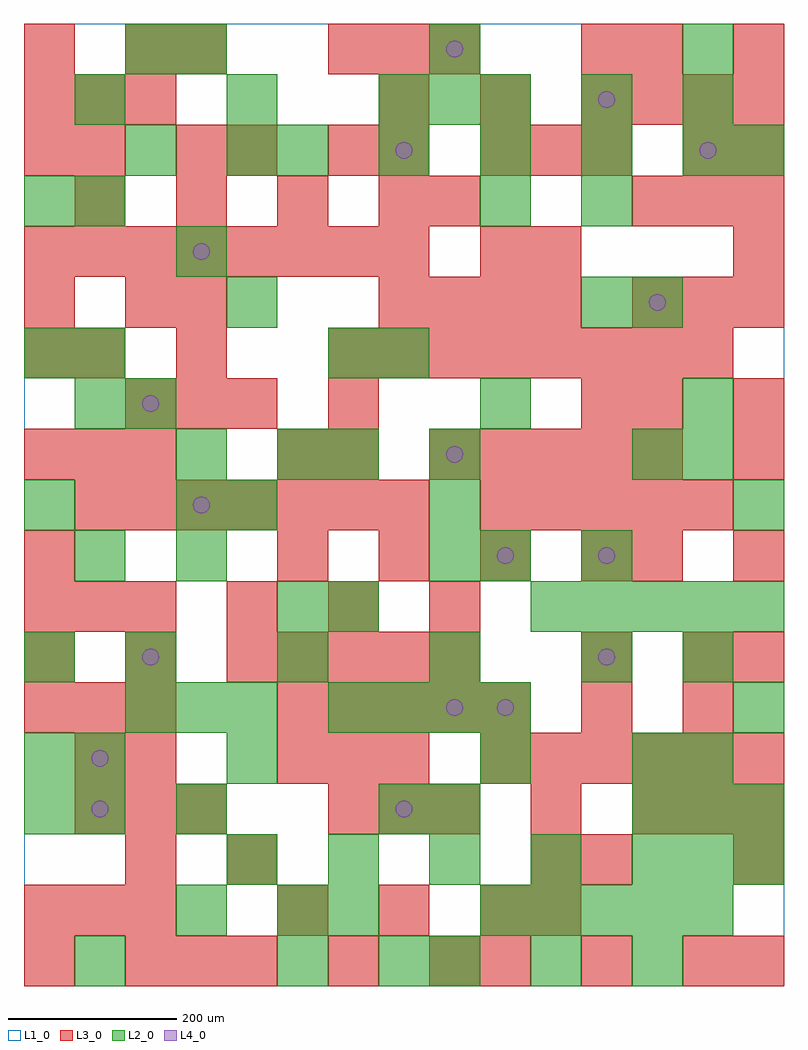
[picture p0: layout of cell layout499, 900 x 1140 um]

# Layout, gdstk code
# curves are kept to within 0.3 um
import gdstk
lib = gdstk.Library(unit=1e-6, precision=1e-09)
def R(c, l, rs):  # rectangles x0, y0, x1, y1
    for r in rs: c.add(gdstk.rectangle(r[:2], r[2:], *l))
def A(c, l, x, y, w, h, nx, ny, dx, dy):  # array of equal rectangles
    R(c, l, [(x+i*dx, y+j*dy, x+i*dx+w, y+j*dy+h) for i in range(nx) for j in range(ny)])
def P(c, l, *ps):  # polygons
    for p in ps: c.add(gdstk.Polygon(p, *l))
L1_0 = (1, 0)
L2_0 = (2, 0)
L3_0 = (3, 0)
L4_0 = (4, 0)

layout499 = lib.new_cell('layout499')
R(layout499, L1_0, [(0,0,900,1140)])
A(layout499, L2_0, 480, 0, 60, 60, 3, 1, 120, 0)
A(layout499, L2_0, 540, 60, 60, 60, 5, 1, 60, 0)
A(layout499, L2_0, 240, 120, 60, 60, 5, 1, 120, 0)
A(layout499, L2_0, 780, 120, 60, 60, 1, 3, 0, 120)
A(layout499, L2_0, 720, 180, 60, 60, 3, 1, 60, 0)
A(layout499, L2_0, 120, 300, 60, 60, 3, 1, 60, 0)
A(layout499, L2_0, 360, 300, 60, 60, 4, 1, 60, 0)
A(layout499, L2_0, 0, 360, 60, 60, 1, 4, 0, 180)
A(layout499, L2_0, 120, 360, 60, 60, 4, 1, 180, 0)
A(layout499, L2_0, 600, 420, 60, 60, 5, 1, 60, 0)
A(layout499, L2_0, 180, 480, 60, 60, 1, 3, 0, 60)
A(layout499, L2_0, 480, 480, 60, 60, 1, 3, 0, 60)
A(layout499, L2_0, 300, 960, 60, 60, 5, 1, 120, 0)
A(layout499, L2_0, 60, 1020, 60, 60, 3, 1, 180, 0)
A(layout499, L2_0, 540, 1020, 60, 60, 3, 1, 120, 0)
A(layout499, L2_0, 180, 1080, 60, 60, 3, 1, 300, 0)
R(layout499, L2_0, [(60,0,120,60), (300,0,360,60), (420,0,480,60), (180,60,240,120), (300,60,360,120), (360,60,420,120), (840,120,900,180), (0,180,60,240), (60,180,120,240), (180,180,240,240), (420,180,480,240), (480,180,540,240), (0,240,60,300), (60,240,120,300), (240,240,300,300), (540,240,600,300), (720,240,780,300), (840,300,900,360), (300,420,360,480), (360,420,420,480), (60,480,120,540), (540,480,600,540), (660,480,720,540), (240,540,300,600), (840,540,900,600), (300,600,360,660), (360,600,420,660), (720,600,780,660), (780,600,840,660), (60,660,120,720), (120,660,180,720), (540,660,600,720), (780,660,840,720), (60,720,120,780), (360,720,420,780), (420,720,480,780), (240,780,300,840), (660,780,720,840), (720,780,780,840), (180,840,240,900), (60,900,120,960), (540,900,600,960), (660,900,720,960), (120,960,180,1020), (240,960,300,1020), (840,960,900,1020), (480,1020,540,1080), (120,1080,180,1140)])
A(layout499, L3_0, 120, 0, 60, 60, 3, 2, 60, 660)
A(layout499, L3_0, 540, 0, 60, 60, 3, 1, 120, 0)
A(layout499, L3_0, 0, 60, 60, 60, 3, 2, 60, 240)
A(layout499, L3_0, 300, 60, 60, 60, 3, 1, 120, 0)
A(layout499, L3_0, 600, 60, 60, 60, 1, 3, 0, 60)
A(layout499, L3_0, 60, 180, 60, 60, 3, 1, 60, 0)
A(layout499, L3_0, 360, 180, 60, 60, 3, 2, 60, 900)
A(layout499, L3_0, 720, 180, 60, 60, 3, 2, 60, 600)
A(layout499, L3_0, 300, 240, 60, 60, 3, 1, 60, 0)
A(layout499, L3_0, 540, 240, 60, 60, 6, 1, 60, 0)
A(layout499, L3_0, 300, 300, 60, 60, 5, 1, 60, 0)
A(layout499, L3_0, 0, 360, 60, 60, 3, 1, 120, 0)
A(layout499, L3_0, 300, 360, 60, 60, 4, 1, 60, 0)
A(layout499, L3_0, 840, 360, 60, 60, 1, 3, 0, 120)
A(layout499, L3_0, 0, 420, 60, 60, 3, 2, 60, 180)
A(layout499, L3_0, 240, 420, 60, 60, 3, 1, 120, 0)
A(layout499, L3_0, 300, 480, 60, 60, 4, 1, 120, 0)
A(layout499, L3_0, 60, 540, 60, 60, 7, 1, 60, 0)
A(layout499, L3_0, 540, 540, 60, 60, 5, 1, 60, 0)
A(layout499, L3_0, 480, 600, 60, 60, 5, 1, 60, 0)
A(layout499, L3_0, 360, 720, 60, 60, 8, 1, 60, 0)
A(layout499, L3_0, 420, 780, 60, 60, 4, 1, 60, 0)
A(layout499, L3_0, 0, 840, 60, 60, 8, 1, 60, 0)
A(layout499, L3_0, 840, 840, 60, 60, 1, 3, 0, 120)
A(layout499, L3_0, 60, 900, 60, 60, 4, 1, 120, 0)
A(layout499, L3_0, 720, 900, 60, 60, 3, 2, 60, 120)
A(layout499, L3_0, 540, 960, 60, 60, 3, 1, 60, 0)
A(layout499, L3_0, 0, 1020, 60, 60, 3, 1, 60, 0)
A(layout499, L3_0, 420, 1020, 60, 60, 3, 1, 120, 0)
R(layout499, L3_0, [(0,0,60,60), (360,0,420,60), (480,0,540,60), (840,0,900,60), (120,120,180,180), (240,120,300,180), (660,120,720,180), (840,120,900,180), (60,240,120,300), (120,240,180,300), (660,300,720,360), (780,300,840,360), (660,360,720,420), (780,360,840,420), (0,480,60,540), (720,480,780,540), (300,600,360,660), (360,600,420,660), (360,660,420,720), (660,660,720,720), (720,660,780,720), (840,660,900,720), (0,720,60,780), (60,720,120,780), (180,720,240,780), (0,780,60,840), (120,780,180,840), (180,780,240,840), (540,840,600,900), (600,840,660,900), (480,900,540,960), (0,960,60,1020), (60,960,120,1020), (180,960,240,1020), (240,960,300,1020), (360,960,420,1020), (420,960,480,1020), (780,960,840,1020), (0,1080,60,1140), (120,1080,180,1140), (180,1080,240,1140), (660,1080,720,1140), (720,1080,780,1140)])
P(layout499, L4_0, [(100,210),(99.239,213.827),(97.071,217.071),(93.827,219.239),(90,220),(86.173,219.239),(82.929,217.071),(80.761,213.827),(80,210),(80.761,206.173),(82.929,202.929),(86.173,200.761),(90,200),(93.827,200.761),(97.071,202.929),(99.239,206.173)],
  [(100,270),(99.239,273.827),(97.071,277.071),(93.827,279.239),(90,280),(86.173,279.239),(82.929,277.071),(80.761,273.827),(80,270),(80.761,266.173),(82.929,262.929),(86.173,260.761),(90,260),(93.827,260.761),(97.071,262.929),(99.239,266.173)],
  [(160,390),(159.239,393.827),(157.071,397.071),(153.827,399.239),(150,400),(146.173,399.239),(142.929,397.071),(140.761,393.827),(140,390),(140.761,386.173),(142.929,382.929),(146.173,380.761),(150,380),(153.827,380.761),(157.071,382.929),(159.239,386.173)],
  [(160,690),(159.239,693.827),(157.071,697.071),(153.827,699.239),(150,700),(146.173,699.239),(142.929,697.071),(140.761,693.827),(140,690),(140.761,686.173),(142.929,682.929),(146.173,680.761),(150,680),(153.827,680.761),(157.071,682.929),(159.239,686.173)],
  [(220,570),(219.239,573.827),(217.071,577.071),(213.827,579.239),(210,580),(206.173,579.239),(202.929,577.071),(200.761,573.827),(200,570),(200.761,566.173),(202.929,562.929),(206.173,560.761),(210,560),(213.827,560.761),(217.071,562.929),(219.239,566.173)],
  [(220,870),(219.239,873.827),(217.071,877.071),(213.827,879.239),(210,880),(206.173,879.239),(202.929,877.071),(200.761,873.827),(200,870),(200.761,866.173),(202.929,862.929),(206.173,860.761),(210,860),(213.827,860.761),(217.071,862.929),(219.239,866.173)],
  [(460,210),(459.239,213.827),(457.071,217.071),(453.827,219.239),(450,220),(446.173,219.239),(442.929,217.071),(440.761,213.827),(440,210),(440.761,206.173),(442.929,202.929),(446.173,200.761),(450,200),(453.827,200.761),(457.071,202.929),(459.239,206.173)],
  [(460,990),(459.239,993.827),(457.071,997.071),(453.827,999.239),(450,1000),(446.173,999.239),(442.929,997.071),(440.761,993.827),(440,990),(440.761,986.173),(442.929,982.929),(446.173,980.761),(450,980),(453.827,980.761),(457.071,982.929),(459.239,986.173)],
  [(520,330),(519.239,333.827),(517.071,337.071),(513.827,339.239),(510,340),(506.173,339.239),(502.929,337.071),(500.761,333.827),(500,330),(500.761,326.173),(502.929,322.929),(506.173,320.761),(510,320),(513.827,320.761),(517.071,322.929),(519.239,326.173)],
  [(520,630),(519.239,633.827),(517.071,637.071),(513.827,639.239),(510,640),(506.173,639.239),(502.929,637.071),(500.761,633.827),(500,630),(500.761,626.173),(502.929,622.929),(506.173,620.761),(510,620),(513.827,620.761),(517.071,622.929),(519.239,626.173)],
  [(520,1110),(519.239,1113.827),(517.071,1117.071),(513.827,1119.239),(510,1120),(506.173,1119.239),(502.929,1117.071),(500.761,1113.827),(500,1110),(500.761,1106.173),(502.929,1102.929),(506.173,1100.761),(510,1100),(513.827,1100.761),(517.071,1102.929),(519.239,1106.173)],
  [(580,330),(579.239,333.827),(577.071,337.071),(573.827,339.239),(570,340),(566.173,339.239),(562.929,337.071),(560.761,333.827),(560,330),(560.761,326.173),(562.929,322.929),(566.173,320.761),(570,320),(573.827,320.761),(577.071,322.929),(579.239,326.173)],
  [(580,510),(579.239,513.827),(577.071,517.071),(573.827,519.239),(570,520),(566.173,519.239),(562.929,517.071),(560.761,513.827),(560,510),(560.761,506.173),(562.929,502.929),(566.173,500.761),(570,500),(573.827,500.761),(577.071,502.929),(579.239,506.173)],
  [(700,390),(699.239,393.827),(697.071,397.071),(693.827,399.239),(690,400),(686.173,399.239),(682.929,397.071),(680.761,393.827),(680,390),(680.761,386.173),(682.929,382.929),(686.173,380.761),(690,380),(693.827,380.761),(697.071,382.929),(699.239,386.173)],
  [(700,510),(699.239,513.827),(697.071,517.071),(693.827,519.239),(690,520),(686.173,519.239),(682.929,517.071),(680.761,513.827),(680,510),(680.761,506.173),(682.929,502.929),(686.173,500.761),(690,500),(693.827,500.761),(697.071,502.929),(699.239,506.173)],
  [(700,1050),(699.239,1053.827),(697.071,1057.071),(693.827,1059.239),(690,1060),(686.173,1059.239),(682.929,1057.071),(680.761,1053.827),(680,1050),(680.761,1046.173),(682.929,1042.929),(686.173,1040.761),(690,1040),(693.827,1040.761),(697.071,1042.929),(699.239,1046.173)],
  [(760,810),(759.239,813.827),(757.071,817.071),(753.827,819.239),(750,820),(746.173,819.239),(742.929,817.071),(740.761,813.827),(740,810),(740.761,806.173),(742.929,802.929),(746.173,800.761),(750,800),(753.827,800.761),(757.071,802.929),(759.239,806.173)],
  [(820,990),(819.239,993.827),(817.071,997.071),(813.827,999.239),(810,1000),(806.173,999.239),(802.929,997.071),(800.761,993.827),(800,990),(800.761,986.173),(802.929,982.929),(806.173,980.761),(810,980),(813.827,980.761),(817.071,982.929),(819.239,986.173)])

lib.write_gds('layout499.gds')
